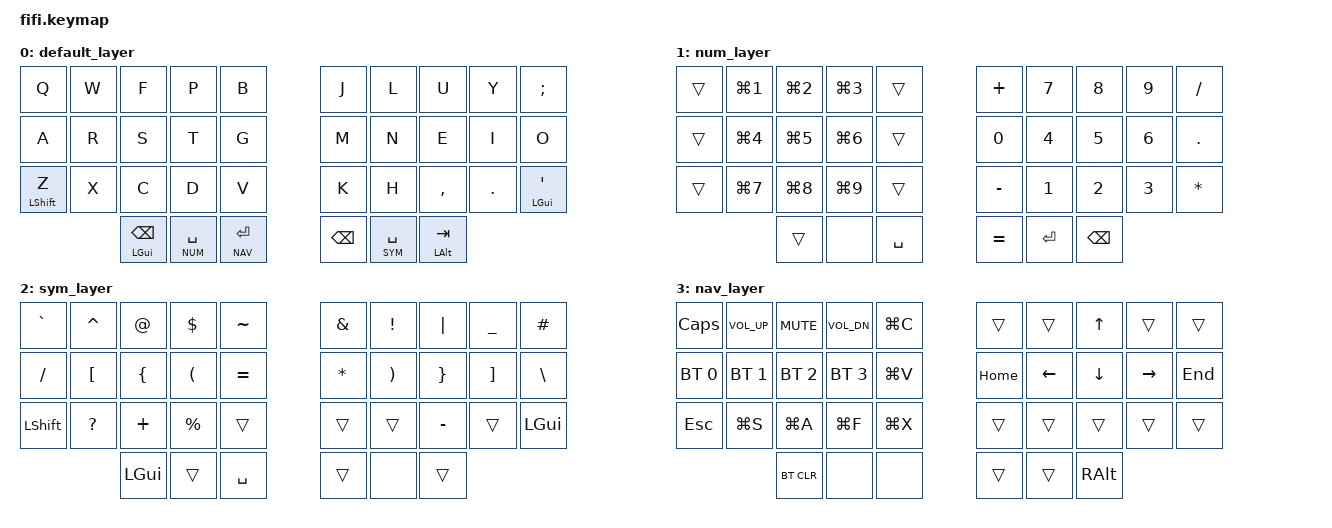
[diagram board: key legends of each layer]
#include <behaviors.dtsi>
#include <dt-bindings/zmk/keys.h>
#include <dt-bindings/zmk/bt.h>
#define DEFAULT 0
#define NUM   1
#define SYM   2
#define NAV   3 
/ {
        keymap {
                compatible = "zmk,keymap";

                default_layer {
                        bindings = <
      &kp Q       &kp W &kp F         &kp P         &kp B         &kp J    &kp L          &kp U     &kp Y   &kp SEMI 
      &kp A       &kp R &kp S         &kp T         &kp G         &kp M    &kp N          &kp E     &kp I   &kp O    
      &mt LSHFT Z &kp X &kp C         &kp D         &kp V         &kp K    &kp H          &kp COMMA &kp DOT &mt LGUI SQT 
                        &mt LGUI BSPC &lt NUM SPACE &lt NAV RET   &kp BSPC &lt SYM SPACE  &mt LALT TAB
                        >;
                };
                num_layer {
                        bindings = <
      &trans &kp LG(N1)   &kp LG(N2)     &kp LG(N3)    &trans      &kp PLUS  &kp N7    &kp N8     &kp N9   &kp FSLH
      &trans &kp LG(N4)   &kp LG(N5)     &kp LG(N6)    &trans      &kp N0     &kp N4    &kp N5     &kp N6   &kp DOT   
      &trans &kp LG(N7)   &kp LG(N8)     &kp LG(N9)    &trans      &kp MINUS &kp N1    &kp N2     &kp N3   &kp STAR
                         &trans        &none        &kp SPACE   &kp EQUAL &kp RET  &kp BSPC
                        >;
                };

                sym_layer {
                        bindings = <
      &kp GRAVE &kp CARET &kp AT   &kp DLLR  &kp TILDE   &kp AMPS &kp EXCL  &kp PIPE     &kp UNDER   &kp HASH 
      &kp FSLH  &kp LBKT  &kp LBRC &kp LPAR  &kp EQUAL   &kp STAR &kp RPAR  &kp RBRC     &kp RBKT    &kp BSLH    
      &kp LSHFT &kp QMARK &kp PLUS &kp PRCNT &trans      &trans   &trans    &kp MINUS    &trans      &kp LGUI 
                          &kp LGUI &trans    &kp SPACE   &trans   &none     &trans
                        >;
                };

                nav_layer {
                        bindings = <
      &kp CAPS     &kp C_VOL_UP &kp C_MUTE   &kp C_VOL_DN &kp LG(C)  &trans     &trans   &kp UP       &trans     &trans
      &bt BT_SEL 0 &bt BT_SEL 1 &bt BT_SEL 2 &bt BT_SEL 3 &kp LG(V)  &kp HOME   &kp LEFT &kp DOWN     &kp RIGHT  &kp END    
      &kp ESC      &kp LG(S)    &kp LG(A)    &kp LG(F)    &kp LG(X)  &trans     &trans   &trans       &trans     &trans
                                &bt BT_CLR   &none        &none      &trans     &trans   &kp RALT
                        >;
                };

        };
};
